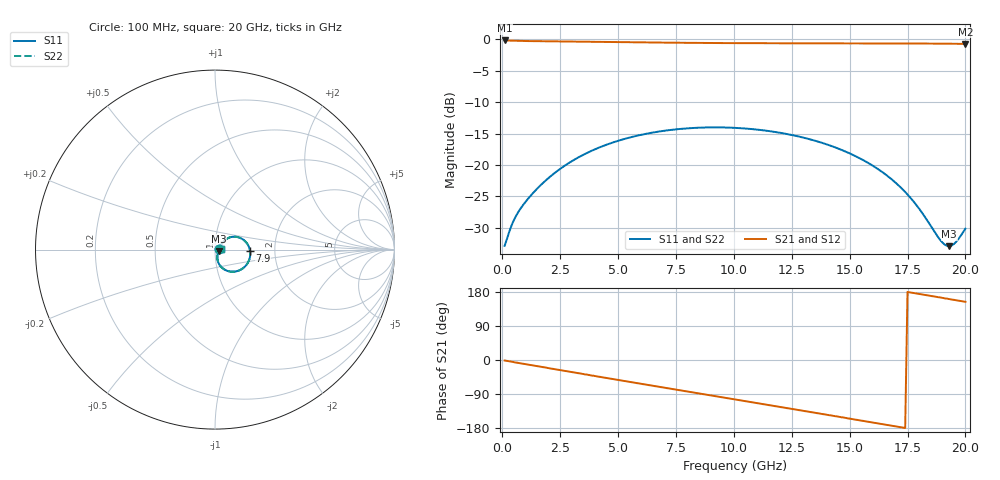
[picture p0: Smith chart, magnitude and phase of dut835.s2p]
! Touchstone file exported from HFSS 2026.1.0
!  File:  C:/ffzhzh/LocalFiles/Ansys_Project_Files/temp_train_TSV_RDL_835_1783267529_5512.aedt
!  Generated:  12:14:23 AM Jul  6, 2026
!  Design:  TSV_RDL
!  Project:  temp_train_TSV_RDL_835_1783267529_5512
! Variables:
!  h_bsmrdl = 3.27um
!  h_ox = 20um
!  h_rdl = 5um
!  h_sub = 86.71um
!  h_tmrdl = 2.53um
!  h_tsv = 86.71um
!  h_via = 3um
!  l_bsmrdl = 115.21um
!  l_sub = 3246.1um
!  l_tmrdl = 583.23um
!  m_sub = 200um
!  pitch = 34.6um
!  r_tsv = 2.75um
!  s_tmrdl = 10um
!  w_bsmrdl = 26.04um
!  w_sub = 500um
!  w_tmrdl = 29.81um
!  x_tsv_center1 = 598.135um
!  x_tsv_center2 = 739.385um
!  x_tsv_center3 = 1352.425um
!  x_tsv_center4 = 1493.675um
!  x_tsv_center5 = 2106.715um
!  x_tsv_center6 = 2247.965um
# GHz S MA R 50.000000
! Terminal data exported
! Port[1] = TM_RDL1_1_T1
! Port[2] = TM_RDL5_1_T1
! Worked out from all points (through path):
!   200 points, 100 MHz to 20 GHz, reference 50 ohm
!   highest |S21| = -0.19 dB at 100 MHz (marker M1); lowest = -0.7 dB at 20 GHz (marker M2)
!   group delay of S21, straight-line fit = 28.5 ps
!   lowest |S11| = -32.9 dB at 19.3 GHz (marker M3), VSWR 1.05, Z = 52.1 - j1.02 ohm
!   |S11| at or under -10 dB: start of sweep to end of sweep
!   |S22| runs from -32.9 to -14.0 dB; largest |S21 - S12| = 1.7e-14
!   S11 on the Smith chart (normalised r, x): 100 MHz: 1.05, +0.01; 7.9 GHz: 1.48, -0.02; 20 GHz: 1.06, +0.01
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0.1  0.02275 13.8  0.978 -1.2  0.978 -1.2  0.02275 13.8
! Gamma 0 0 0 0
! Port Impedance 50 0 50 0
0.4  0.03306 33.1  0.9736 -4.6  0.9736 -4.6  0.03306 33.1
0.6  0.03958 36.9  0.971 -6.7  0.971 -6.7  0.03958 36.9
1.2  0.05634 42.3  0.9667 -13.0  0.9667 -13.0  0.05634 42.3
2.3  0.08748 42.7  0.9623 -24.5  0.9623 -24.5  0.08747 42.7
3.5  0.1206 36.2  0.9569 -37.1  0.9569 -37.1  0.1205 36.2
5.2  0.1597 22.7  0.9484 -54.7  0.9484 -54.7  0.1597 22.7
6.8  0.185 8.4  0.9409 -71.1  0.9409 -71.1  0.1849 8.5
7.9  0.195 -1.6  0.9367 -82.3  0.9367 -82.3  0.195 -1.5
9  0.1991 -11.7  0.9334 -93.5  0.9334 -93.5  0.199 -11.6
10.1  0.1971 -21.8  0.9311 -104.6  0.9311 -104.6  0.1971 -21.7
11.7  0.1841 -36.4  0.9293 -120.9  0.9293 -120.9  0.184 -36.3
13.4  0.158 -51.4  0.9286 -138.2  0.9286 -138.2  0.1579 -51.2
15.2  0.1189 -65.9  0.928 -156.7  0.928 -156.7  0.1189 -65.7
16  0.09871 -71.4  0.9275 -165.0  0.9275 -165.0  0.09869 -71.1
16.7  0.08007 -75.0  0.9268 -172.2  0.9268 -172.2  0.08006 -74.7
17.3  0.06374 -76.4  0.9259 -178.4  0.9259 -178.4  0.06375 -76.1
17.8  0.05025 -75.3  0.925 176.4  0.925 176.4  0.05028 -75.0
19  0.02425 -44.8  0.9222 164.0  0.9222 164.0  0.02436 -44.5
19.3  0.02262 -25.7  0.9214 160.8  0.9214 160.8  0.02274 -25.5
19.6  0.02449 -6.8  0.9204 157.7  0.9204 157.7  0.0246 -6.8
20  0.03114 10.2  0.9191 153.6  0.9191 153.6  0.03122 10.2
